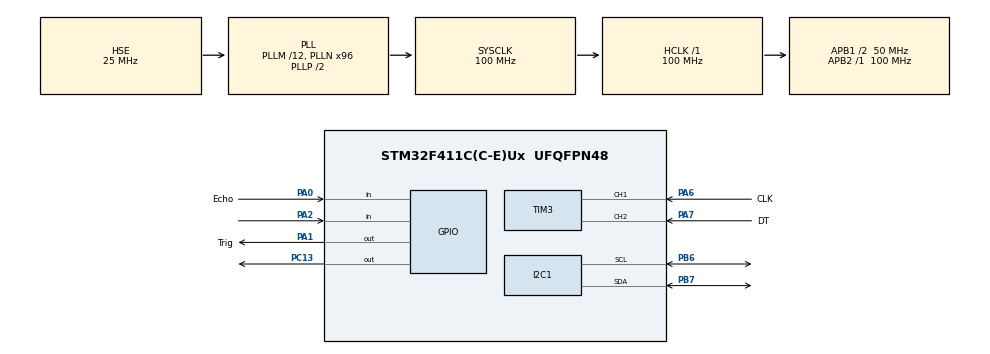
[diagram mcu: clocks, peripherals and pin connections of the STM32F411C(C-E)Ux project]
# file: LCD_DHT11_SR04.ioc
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Mcu.Family=STM32F4
Mcu.Name=STM32F411C(C-E)Ux
Mcu.Package=UFQFPN48
NVIC.PriorityGroup=NVIC_PRIORITYGROUP_4
PA0-WKUP.GPIO_Label=Echo
PA0-WKUP.Signal=GPIO_Input
PA1.GPIO_Label=Trig
PA1.Signal=GPIO_Output
PA13.Mode=Serial_Wire
PA13.Signal=SYS_JTMS-SWDIO
PA14.Mode=Serial_Wire
PA14.Signal=SYS_JTCK-SWCLK
PA2.GPIO_PuPd=GPIO_PULLUP
PA2.Signal=GPIO_Input
PA6.GPIO_Label=CLK
PA6.Signal=S_TIM3_CH1
PA7.GPIO_Label=DT
PA7.Signal=S_TIM3_CH2
PB6.Mode=I2C
PB6.Signal=I2C1_SCL
PB7.Mode=I2C
PB7.Signal=I2C1_SDA
PC13-ANTI_TAMP.Signal=GPIO_Output
PH0\ -\ OSC_IN.Mode=HSE-External-Oscillator
PH0\ -\ OSC_IN.Signal=RCC_OSC_IN
PH1\ -\ OSC_OUT.Mode=HSE-External-Oscillator
PH1\ -\ OSC_OUT.Signal=RCC_OSC_OUT
ProjectManager.HeapSize=0x200
ProjectManager.StackSize=0x400
ProjectManager.TargetToolchain=STM32CubeIDE
RCC.48MHZClocksFreq_Value=50000000
RCC.AHBFreq_Value=100000000
RCC.APB1CLKDivider=RCC_HCLK_DIV2
RCC.APB1Freq_Value=50000000
RCC.APB1TimFreq_Value=100000000
RCC.APB2Freq_Value=100000000
RCC.APB2TimFreq_Value=100000000
RCC.CortexFreq_Value=100000000
RCC.HCLKFreq_Value=100000000
RCC.HSE_VALUE=25000000
RCC.HSI_VALUE=16000000
RCC.LSE_VALUE=32768
RCC.PLLM=12
RCC.PLLN=96
RCC.PLLSourceVirtual=RCC_PLLSOURCE_HSE
RCC.SYSCLKFreq_VALUE=100000000
RCC.SYSCLKSource=RCC_SYSCLKSOURCE_PLLCLK
RCC.VCOOutputFreq_Value=200000000
SH.S_TIM3_CH1.0=TIM3_CH1,Encoder_Interface
SH.S_TIM3_CH2.0=TIM3_CH2,Encoder_Interface
TIM3.EncoderMode=TIM_ENCODERMODE_TI12
TIM3.IC1Filter=10
TIM3.IC2Filter=10
TIM4.Period=0xFFFF-1
TIM4.Prescaler=99
VP_TIM4_VS_ClockSourceINT.Mode=Internal
board=custom

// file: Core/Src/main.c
/* USER CODE BEGIN Header */
/**
 ******************************************************************************
 * @file           : main.c
 * @brief          : Main program body
 ******************************************************************************
 * @attention
 *
 * Copyright (c) 2023 STMicroelectronics.
 * All rights reserved.
 *
 * This software is licensed under terms that can be found in the LICENSE file
 * in the root directory of this software component.
 * If no LICENSE file comes with this software, it is provided AS-IS.
 *
 ******************************************************************************
 */
/* USER CODE END Header */
#include "main.h"

/* USER CODE BEGIN Includes */
#include "sr04.h"
#include "delay_timer.h"
#include "lcd_i2c.h"
#include "button.h"
#include "dht11.h"
/* USER CODE END Includes */

/* USER CODE BEGIN PD */
#define SLAVE_ADDRESS 0x27
/* USER CODE END PD */

I2C_HandleTypeDef hi2c1;

TIM_HandleTypeDef htim3;
TIM_HandleTypeDef htim4;

/* USER CODE BEGIN PV */
BUTTON_HandleTypeDef button_0;
LCD_I2C_HandleTypeDef lcd_0;

uint8_t distance = 0;
uint8_t condition = 0;
int16_t rate = 0;

// LCD

char data_distance[5] = "0000";
char data_sr04[10] = "MODE SR_04";
char data_dht11[10] = "MODE DHT11";

// MODE

enum MODE_t
{
  SELECT = 0,
  SR_04 = 1,
  DHT11 = 2
};

uint8_t effect = SELECT;
/* USER CODE END PV */

void SystemClock_Config(void);
static void MX_GPIO_Init(void);
static void MX_TIM3_Init(void);
static void MX_TIM4_Init(void);
static void MX_I2C1_Init(void);

/* USER CODE BEGIN 0 */
void BUTTON_Pressing_Callback(BUTTON_HandleTypeDef *ButtonX)
{
  condition = ~condition;
}

void EFFECT_Handle()
{
  switch (effect)
  {
  case SELECT:
    LCD_Set_Cursor(&lcd_0, 0, 0);
    LCD_Send_String(&lcd_0, "PLEASE CHOOSE MODE");
    LCD_Set_Cursor(&lcd_0, 0, 1);
    LCD_Send_String(&lcd_0, "MODE 1: SR04");
    LCD_Set_Cursor(&lcd_0, 0, 2);
    LCD_Send_String(&lcd_0, "MODE 2: DHT11");
    LCD_Set_Cursor(&lcd_0, 0, 3);
    LCD_Send_String(&lcd_0, "SELECT:");

    LCD_Set_Cursor(&lcd_0, 8, 3);
    rate = (TIM3 -> CNT) >> 2;
    if(rate%2)
    {
      LCD_Send_String(&lcd_0, &data_sr04);
      effect = SR_04;
    }
    else
    {
      LCD_Send_String(&lcd_0, &data_dht11);
      effect = DHT11;
    }
    break;

  case SR_04:
    distance = GET_Distance(&htim4, GPIOA, GPIO_PIN_1, GPIOA, GPIO_PIN_0);
    if (condition)
    {
      int8_t temp = 0;
      for (int i = 0; i < 4; i++)
      {
        temp = rate%(10);
			  data_distance[4 - 1 -i] = temp + 48;
			  rate /= 10;
      }
      LCD_Set_Cursor(&lcd_0, 0, 0);
      LCD_Send_String(&lcd_0, "DISTANCE");
      LCD_Set_Cursor(&lcd_0, 9, 0);
      LCD_Send_String(&lcd_0, &data_distance);
    }
    else
    {
      effect = SELECT;
    }

    break;

  case DHT11:

    break;

  default:
    break;
  }
}
/* USER CODE END 0 */

int main(void)
{

  /* MCU Configuration--------------------------------------------------------*/

  /* Reset of all peripherals, Initializes the Flash interface and the Systick. */
  HAL_Init();

  /* Configure the system clock */
  SystemClock_Config();

  /* Initialize all configured peripherals */
  MX_GPIO_Init();
  MX_TIM3_Init();
  MX_TIM4_Init();
  MX_I2C1_Init();
  /* USER CODE BEGIN 2 */
  DELAY_Tim_Init(&htim4);
  HAL_TIM_Encoder_Start(&htim3, TIM_CHANNEL_ALL);
  BUTTON_Init(&button_0, GPIOA, GPIO_PIN_2);
  LCD_I2C_Init(&lcd_0, &hi2c1, 20, 4, SLAVE_ADDRESS << 1);
  /* USER CODE END 2 */

  /* Infinite loop */
  while (1)
  {

    /* USER CODE BEGIN 3 */
    BUTTON_Handel(&button_0);
    EFFECT_Handle();
  }
  /* USER CODE END 3 */
}

void SystemClock_Config(void)
{
  RCC_OscInitTypeDef RCC_OscInitStruct = {0};
  RCC_ClkInitTypeDef RCC_ClkInitStruct = {0};

  /** Configure the main internal regulator output voltage
  */
  __HAL_RCC_PWR_CLK_ENABLE();
  __HAL_PWR_VOLTAGESCALING_CONFIG(PWR_REGULATOR_VOLTAGE_SCALE1);

  /** Initializes the RCC Oscillators according to the specified parameters
  * in the RCC_OscInitTypeDef structure.
  */
  RCC_OscInitStruct.OscillatorType = RCC_OSCILLATORTYPE_HSE;
  RCC_OscInitStruct.HSEState = RCC_HSE_ON;
  RCC_OscInitStruct.PLL.PLLState = RCC_PLL_ON;
  RCC_OscInitStruct.PLL.PLLSource = RCC_PLLSOURCE_HSE;
  RCC_OscInitStruct.PLL.PLLM = 12;
  RCC_OscInitStruct.PLL.PLLN = 96;
  RCC_OscInitStruct.PLL.PLLP = RCC_PLLP_DIV2;
  RCC_OscInitStruct.PLL.PLLQ = 4;
  if (HAL_RCC_OscConfig(&RCC_OscInitStruct) != HAL_OK)
  {
    Error_Handler();
  }

  /** Initializes the CPU, AHB and APB buses clocks
  */
  RCC_ClkInitStruct.ClockType = RCC_CLOCKTYPE_HCLK|RCC_CLOCKTYPE_SYSCLK
                              |RCC_CLOCKTYPE_PCLK1|RCC_CLOCKTYPE_PCLK2;
  RCC_ClkInitStruct.SYSCLKSource = RCC_SYSCLKSOURCE_PLLCLK;
  RCC_ClkInitStruct.AHBCLKDivider = RCC_SYSCLK_DIV1;
  RCC_ClkInitStruct.APB1CLKDivider = RCC_HCLK_DIV2;
  RCC_ClkInitStruct.APB2CLKDivider = RCC_HCLK_DIV1;

  if (HAL_RCC_ClockConfig(&RCC_ClkInitStruct, FLASH_LATENCY_3) != HAL_OK)
  {
    Error_Handler();
  }
}

static void MX_I2C1_Init(void)
{

  hi2c1.Instance = I2C1;
  hi2c1.Init.ClockSpeed = 100000;
  hi2c1.Init.DutyCycle = I2C_DUTYCYCLE_2;
  hi2c1.Init.OwnAddress1 = 0;
  hi2c1.Init.AddressingMode = I2C_ADDRESSINGMODE_7BIT;
  hi2c1.Init.DualAddressMode = I2C_DUALADDRESS_DISABLE;
  hi2c1.Init.OwnAddress2 = 0;
  hi2c1.Init.GeneralCallMode = I2C_GENERALCALL_DISABLE;
  hi2c1.Init.NoStretchMode = I2C_NOSTRETCH_DISABLE;
  if (HAL_I2C_Init(&hi2c1) != HAL_OK)
  {
    Error_Handler();
  }

}

static void MX_TIM3_Init(void)
{

  TIM_Encoder_InitTypeDef sConfig = {0};
  TIM_MasterConfigTypeDef sMasterConfig = {0};

  htim3.Instance = TIM3;
  htim3.Init.Prescaler = 0;
  htim3.Init.CounterMode = TIM_COUNTERMODE_UP;
  htim3.Init.Period = 65535;
  htim3.Init.ClockDivision = TIM_CLOCKDIVISION_DIV1;
  htim3.Init.AutoReloadPreload = TIM_AUTORELOAD_PRELOAD_DISABLE;
  sConfig.EncoderMode = TIM_ENCODERMODE_TI12;
  sConfig.IC1Polarity = TIM_ICPOLARITY_RISING;
  sConfig.IC1Selection = TIM_ICSELECTION_DIRECTTI;
  sConfig.IC1Prescaler = TIM_ICPSC_DIV1;
  sConfig.IC1Filter = 10;
  sConfig.IC2Polarity = TIM_ICPOLARITY_RISING;
  sConfig.IC2Selection = TIM_ICSELECTION_DIRECTTI;
  sConfig.IC2Prescaler = TIM_ICPSC_DIV1;
  sConfig.IC2Filter = 10;
  if (HAL_TIM_Encoder_Init(&htim3, &sConfig) != HAL_OK)
  {
    Error_Handler();
  }
  sMasterConfig.MasterOutputTrigger = TIM_TRGO_RESET;
  sMasterConfig.MasterSlaveMode = TIM_MASTERSLAVEMODE_DISABLE;
  if (HAL_TIMEx_MasterConfigSynchronization(&htim3, &sMasterConfig) != HAL_OK)
  {
    Error_Handler();
  }

}

static void MX_TIM4_Init(void)
{

  TIM_ClockConfigTypeDef sClockSourceConfig = {0};
  TIM_MasterConfigTypeDef sMasterConfig = {0};

  htim4.Instance = TIM4;
  htim4.Init.Prescaler = 99;
  htim4.Init.CounterMode = TIM_COUNTERMODE_UP;
  htim4.Init.Period = 0xFFFF-1;
  htim4.Init.ClockDivision = TIM_CLOCKDIVISION_DIV1;
  htim4.Init.AutoReloadPreload = TIM_AUTORELOAD_PRELOAD_DISABLE;
  if (HAL_TIM_Base_Init(&htim4) != HAL_OK)
  {
    Error_Handler();
  }
  sClockSourceConfig.ClockSource = TIM_CLOCKSOURCE_INTERNAL;
  if (HAL_TIM_ConfigClockSource(&htim4, &sClockSourceConfig) != HAL_OK)
  {
    Error_Handler();
  }
  sMasterConfig.MasterOutputTrigger = TIM_TRGO_RESET;
  sMasterConfig.MasterSlaveMode = TIM_MASTERSLAVEMODE_DISABLE;
  if (HAL_TIMEx_MasterConfigSynchronization(&htim4, &sMasterConfig) != HAL_OK)
  {
    Error_Handler();
  }

}

static void MX_GPIO_Init(void)
{
  GPIO_InitTypeDef GPIO_InitStruct = {0};

  /* GPIO Ports Clock Enable */
  __HAL_RCC_GPIOC_CLK_ENABLE();
  __HAL_RCC_GPIOH_CLK_ENABLE();
  __HAL_RCC_GPIOA_CLK_ENABLE();
  __HAL_RCC_GPIOB_CLK_ENABLE();

  /*Configure GPIO pin Output Level */
  HAL_GPIO_WritePin(GPIOC, GPIO_PIN_13, GPIO_PIN_RESET);

  /*Configure GPIO pin Output Level */
  HAL_GPIO_WritePin(Trig_GPIO_Port, Trig_Pin, GPIO_PIN_RESET);

  /*Configure GPIO pin : PC13 */
  GPIO_InitStruct.Pin = GPIO_PIN_13;
  GPIO_InitStruct.Mode = GPIO_MODE_OUTPUT_PP;
  GPIO_InitStruct.Pull = GPIO_NOPULL;
  GPIO_InitStruct.Speed = GPIO_SPEED_FREQ_LOW;
  HAL_GPIO_Init(GPIOC, &GPIO_InitStruct);

  /*Configure GPIO pin : Echo_Pin */
  GPIO_InitStruct.Pin = Echo_Pin;
  GPIO_InitStruct.Mode = GPIO_MODE_INPUT;
  GPIO_InitStruct.Pull = GPIO_NOPULL;
  HAL_GPIO_Init(Echo_GPIO_Port, &GPIO_InitStruct);

  /*Configure GPIO pin : Trig_Pin */
  GPIO_InitStruct.Pin = Trig_Pin;
  GPIO_InitStruct.Mode = GPIO_MODE_OUTPUT_PP;
  GPIO_InitStruct.Pull = GPIO_NOPULL;
  GPIO_InitStruct.Speed = GPIO_SPEED_FREQ_LOW;
  HAL_GPIO_Init(Trig_GPIO_Port, &GPIO_InitStruct);

  /*Configure GPIO pin : PA2 */
  GPIO_InitStruct.Pin = GPIO_PIN_2;
  GPIO_InitStruct.Mode = GPIO_MODE_INPUT;
  GPIO_InitStruct.Pull = GPIO_PULLUP;
  HAL_GPIO_Init(GPIOA, &GPIO_InitStruct);

}

void Error_Handler(void)
{
  __disable_irq();
  while (1)
  {
  }
}
